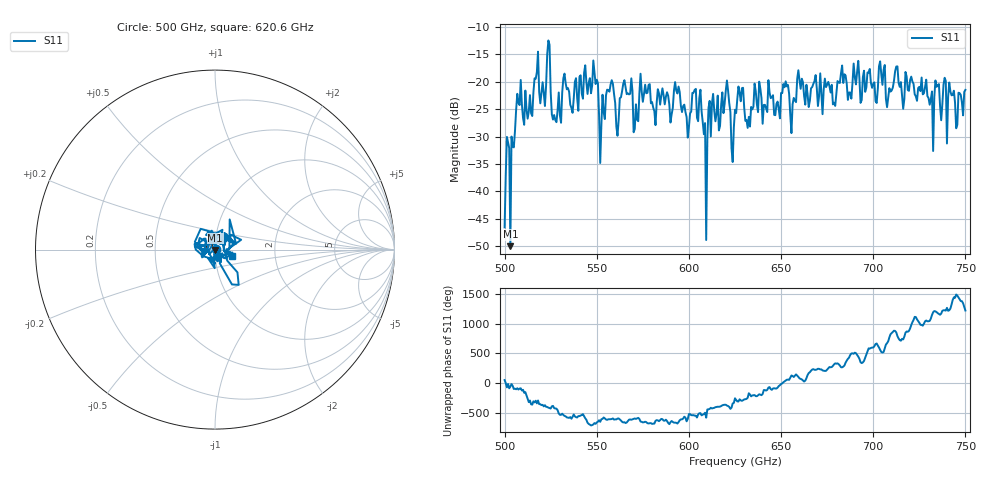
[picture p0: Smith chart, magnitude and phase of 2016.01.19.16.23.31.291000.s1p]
!Created with skrf (http://scikit-rf.org).
# GHz S RI R 50.0
!freq ReS11 ImS11
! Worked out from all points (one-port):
!   401 points, 500 GHz to 750 GHz, reference 50 ohm
!   lowest |S11| = -50.0 dB at 503.1 GHz (marker M1), VSWR 1.01, Z = 50.2 - j0.279 ohm
!   |S11| at or under -10 dB: start of sweep to end of sweep
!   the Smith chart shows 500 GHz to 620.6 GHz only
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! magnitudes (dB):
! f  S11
! 500 GHz  -46.5
! 503.1 GHz  -50.0
! 507.5 GHz  -23.9
! 513.8 GHz  -22.5
! 516.9 GHz  -19.5
! 520.6 GHz  -20.1
! 523.8 GHz  -12.5
! 526.9 GHz  -26.1
! 531.2 GHz  -22.0
! 549.4 GHz  -20.5
! 552.5 GHz  -27.9
! 557.5 GHz  -20.5
! 562.5 GHz  -23.0
! 593.8 GHz  -22.2
! 599.4 GHz  -30.2
! 605 GHz  -27.2
! 608.8 GHz  -27.6
! 611.9 GHz  -30.0
! 620.6 GHz  -19.8
! 625 GHz  -25.1
! 628.1 GHz  -23.6
! 631.9 GHz  -28.4
! 652.5 GHz  -20.0
! 656.2 GHz  -24.1
! 660 GHz  -19.8
! 687.5 GHz  -22.0
! 718.8 GHz  -21.6
! 750 GHz  -21.5
